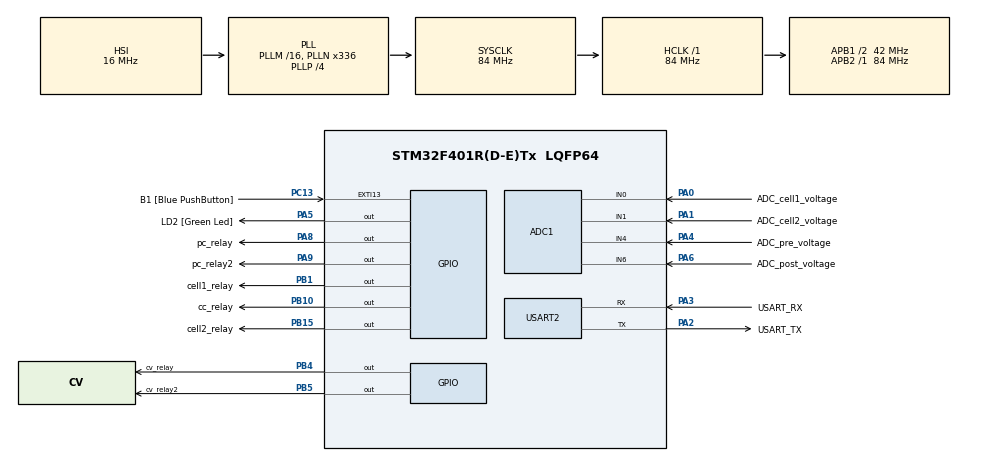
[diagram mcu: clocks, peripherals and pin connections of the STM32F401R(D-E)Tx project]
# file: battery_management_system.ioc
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ADC1.Channel-0\#ChannelRegularConversion=ADC_CHANNEL_0
ADC1.Channel-1\#ChannelRegularConversion=ADC_CHANNEL_1
ADC1.Channel-2\#ChannelRegularConversion=ADC_CHANNEL_4
ADC1.Channel-3\#ChannelRegularConversion=ADC_CHANNEL_6
ADC1.ContinuousConvMode=DISABLE
ADC1.DMAContinuousRequests=ENABLE
ADC1.EOCSelection=ADC_EOC_SEQ_CONV
ADC1.ExternalTrigConv=ADC_EXTERNALTRIGCONV_T3_TRGO
ADC1.NbrOfConversion=4
ADC1.NbrOfConversionFlag=1
ADC1.Rank-0\#ChannelRegularConversion=1
ADC1.Rank-1\#ChannelRegularConversion=2
ADC1.Rank-2\#ChannelRegularConversion=3
ADC1.Rank-3\#ChannelRegularConversion=4
ADC1.SamplingTime-0\#ChannelRegularConversion=ADC_SAMPLETIME_56CYCLES
ADC1.SamplingTime-1\#ChannelRegularConversion=ADC_SAMPLETIME_56CYCLES
ADC1.SamplingTime-2\#ChannelRegularConversion=ADC_SAMPLETIME_56CYCLES
ADC1.SamplingTime-3\#ChannelRegularConversion=ADC_SAMPLETIME_56CYCLES
ADC1.ScanConvMode=ENABLE
ADC1.master=1
Dma.ADC1.0.Direction=DMA_PERIPH_TO_MEMORY
Dma.ADC1.0.FIFOMode=DMA_FIFOMODE_DISABLE
Dma.ADC1.0.Instance=DMA2_Stream0
Dma.ADC1.0.MemDataAlignment=DMA_MDATAALIGN_WORD
Dma.ADC1.0.MemInc=DMA_MINC_ENABLE
Dma.ADC1.0.Mode=DMA_CIRCULAR
Dma.ADC1.0.PeriphDataAlignment=DMA_PDATAALIGN_WORD
Dma.ADC1.0.PeriphInc=DMA_PINC_DISABLE
Dma.ADC1.0.Priority=DMA_PRIORITY_LOW
Dma.Request0=ADC1
Mcu.Family=STM32F4
Mcu.Name=STM32F401R(D-E)Tx
Mcu.Package=LQFP64
NVIC.ADC_IRQn=true\:0\:0\:false\:false\:true\:true\:true\:true
NVIC.DMA2_Stream0_IRQn=true\:0\:0\:false\:false\:true\:false\:true\:true
NVIC.PriorityGroup=NVIC_PRIORITYGROUP_0
NVIC.TIM1_BRK_TIM9_IRQn=true\:0\:0\:false\:false\:true\:true\:true\:true
PA0-WKUP.GPIO_Label=ADC_cell1_voltage
PA0-WKUP.Signal=ADCx_IN0
PA1.GPIO_Label=ADC_cell2_voltage
PA1.Signal=ADCx_IN1
PA13.GPIO_Label=TMS
PA13.Mode=Serial_Wire
PA13.Signal=SYS_JTMS-SWDIO
PA14.GPIO_Label=TCK
PA14.Mode=Serial_Wire
PA14.Signal=SYS_JTCK-SWCLK
PA2.GPIO_Label=USART_TX
PA2.GPIO_Mode=GPIO_MODE_AF_PP
PA2.GPIO_PuPd=GPIO_NOPULL
PA2.GPIO_Speed=GPIO_SPEED_FREQ_LOW
PA2.Mode=Asynchronous
PA2.Signal=USART2_TX
PA3.GPIO_Label=USART_RX
PA3.GPIO_Mode=GPIO_MODE_AF_PP
PA3.GPIO_PuPd=GPIO_NOPULL
PA3.GPIO_Speed=GPIO_SPEED_FREQ_LOW
PA3.Mode=Asynchronous
PA3.Signal=USART2_RX
PA4.GPIO_Label=ADC_pre_voltage
PA4.Signal=ADCx_IN4
PA5.GPIO_Label=LD2 [Green Led]
PA5.GPIO_Mode=GPIO_MODE_OUTPUT_PP
PA5.GPIO_PuPd=GPIO_NOPULL
PA5.GPIO_Speed=GPIO_SPEED_FREQ_LOW
PA5.Signal=GPIO_Output
PA6.GPIO_Label=ADC_post_voltage
PA6.Signal=ADCx_IN6
PA8.GPIO_Label=pc_relay
PA8.PinState=GPIO_PIN_SET
PA8.Signal=GPIO_Output
PA9.GPIO_Label=pc_relay2
PA9.PinState=GPIO_PIN_SET
PA9.Signal=GPIO_Output
PB1.GPIO_Label=cell1_relay
PB1.PinState=GPIO_PIN_SET
PB1.Signal=GPIO_Output
PB10.GPIO_Label=cc_relay
PB10.PinState=GPIO_PIN_SET
PB10.Signal=GPIO_Output
PB15.GPIO_Label=cell2_relay
PB15.PinState=GPIO_PIN_SET
PB15.Signal=GPIO_Output
PB3.GPIO_Label=SWO
PB3.Signal=SYS_JTDO-SWO
PB4.GPIO_Label=cv_relay
PB4.PinState=GPIO_PIN_SET
PB4.Signal=GPIO_Output
PB5.GPIO_Label=cv_relay2
PB5.PinState=GPIO_PIN_SET
PB5.Signal=GPIO_Output
PC13-ANTI_TAMP.GPIO_Label=B1 [Blue PushButton]
PC13-ANTI_TAMP.GPIO_ModeDefaultEXTI=GPIO_MODE_IT_FALLING
PC13-ANTI_TAMP.GPIO_PuPd=GPIO_NOPULL
PC13-ANTI_TAMP.Signal=GPXTI13
PC14-OSC32_IN.Mode=LSE-External-Oscillator
PC14-OSC32_IN.Signal=RCC_OSC32_IN
PC15-OSC32_OUT.Mode=LSE-External-Oscillator
PC15-OSC32_OUT.Signal=RCC_OSC32_OUT
PH0\ -\ OSC_IN.Mode=HSE-External-Clock-Source
PH0\ -\ OSC_IN.Signal=RCC_OSC_IN
PH1\ -\ OSC_OUT.Mode=HSE-External-Clock-Source
PH1\ -\ OSC_OUT.Signal=RCC_OSC_OUT
ProjectManager.HeapSize=0x200
ProjectManager.StackSize=0x400
ProjectManager.TargetToolchain=STM32CubeIDE
RCC.48MHZClocksFreq_Value=48000000
RCC.AHBFreq_Value=84000000
RCC.APB1CLKDivider=RCC_HCLK_DIV2
RCC.APB1Freq_Value=42000000
RCC.APB1TimFreq_Value=84000000
RCC.APB2Freq_Value=84000000
RCC.APB2TimFreq_Value=84000000
RCC.CortexFreq_Value=84000000
RCC.HCLKFreq_Value=84000000
RCC.HSE_VALUE=8000000
RCC.HSI_VALUE=16000000
RCC.PLLN=336
RCC.PLLP=RCC_PLLP_DIV4
RCC.PLLQ=7
RCC.SYSCLKFreq_VALUE=84000000
RCC.SYSCLKSource=RCC_SYSCLKSOURCE_PLLCLK
RCC.VCOOutputFreq_Value=336000000
SH.ADCx_IN0.0=ADC1_IN0,IN0
SH.ADCx_IN1.0=ADC1_IN1,IN1
SH.ADCx_IN4.0=ADC1_IN4,IN4
SH.ADCx_IN6.0=ADC1_IN6,IN6
TIM3.Period=10000 -1
TIM3.Prescaler=840 -1
TIM3.TIM_MasterOutputTrigger=TIM_TRGO_UPDATE
TIM9.Period=10000
TIM9.Prescaler=840
USART2.VirtualMode=VM_ASYNC
VP_TIM3_VS_ClockSourceINT.Mode=Internal
VP_TIM9_VS_ClockSourceINT.Mode=Internal
board=NUCLEO-F401RE

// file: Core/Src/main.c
/* USER CODE BEGIN Header */
/**
  ******************************************************************************
  * @file           : main.c
  * @brief          : Main program body
  ******************************************************************************
  * @attention
  *
  * Copyright (c) 2023 STMicroelectronics.
  * All rights reserved.
  *
  * This software is licensed under terms that can be found in the LICENSE file
  * in the root directory of this software component.
  * If no LICENSE file comes with this software, it is provided AS-IS.
  *
  ******************************************************************************
  */
/* USER CODE END Header */
#include "main.h"

/* USER CODE BEGIN Includes */
#include "bms_cell_voltage_reader.h"
#include "bms_current_reader.h"
#include "bms_charging.h"

/* USER CODE END Includes */

ADC_HandleTypeDef hadc1;
DMA_HandleTypeDef hdma_adc1;

TIM_HandleTypeDef htim3;
TIM_HandleTypeDef htim9;

UART_HandleTypeDef huart2;

/* USER CODE BEGIN PV */
// A global variable to hold the voltage level of a cell.
uint16_t cell_voltage = 0;

// Global array with three ADC channels
uint32_t adc_value[4];

uint16_t charge_loop_counter = 0;
uint8_t charge_loop_delay = 20; //2 sec

struct battery_cell cells[1]; //only charge one cell

//Used for testing current reading implementation
float mAmp = 0;
uint16_t adc_drop = 0;
/* USER CODE END PV */

void SystemClock_Config(void);
static void MX_GPIO_Init(void);
static void MX_DMA_Init(void);
static void MX_USART2_UART_Init(void);
static void MX_ADC1_Init(void);
static void MX_TIM3_Init(void);
static void MX_TIM9_Init(void);

/* USER CODE BEGIN 0 */

void HAL_TIM_PeriodElapsedCallback(TIM_HandleTypeDef *htim){
	charge_loop_counter++;
}

/* USER CODE END 0 */

int main(void)
{

  /* MCU Configuration--------------------------------------------------------*/

  /* Reset of all peripherals, Initializes the Flash interface and the Systick. */
  HAL_Init();

  /* Configure the system clock */
  SystemClock_Config();

  /* Initialize all configured peripherals */
  MX_GPIO_Init();
  MX_DMA_Init();
  MX_USART2_UART_Init();
  MX_ADC1_Init();
  MX_TIM3_Init();
  MX_TIM9_Init();
  /* USER CODE BEGIN 2 */
  // Start timer for ADC Interrupt (10Hz)
  HAL_TIM_Base_Start(&htim3);
  HAL_TIM_Base_Start_IT(&htim9); //Timer for interrupt

  // Start ADC with DMA
  HAL_ADC_Start_DMA(&hadc1, adc_value, 4);

  battery_cell_init(cells);
  /* USER CODE END 2 */

  /* Infinite loop */
  /* USER CODE BEGIN WHILE */
  while (1)
  {
	  if(charge_loop_counter >= charge_loop_delay){
		  charge_loop(cells, adc_value);
		  charge_loop_counter = 0;
	  }
    /* USER CODE END WHILE */

  }
}

void SystemClock_Config(void)
{
  RCC_OscInitTypeDef RCC_OscInitStruct = {0};
  RCC_ClkInitTypeDef RCC_ClkInitStruct = {0};

  /** Configure the main internal regulator output voltage
  */
  __HAL_RCC_PWR_CLK_ENABLE();
  __HAL_PWR_VOLTAGESCALING_CONFIG(PWR_REGULATOR_VOLTAGE_SCALE2);

  /** Initializes the RCC Oscillators according to the specified parameters
  * in the RCC_OscInitTypeDef structure.
  */
  RCC_OscInitStruct.OscillatorType = RCC_OSCILLATORTYPE_HSI;
  RCC_OscInitStruct.HSIState = RCC_HSI_ON;
  RCC_OscInitStruct.HSICalibrationValue = RCC_HSICALIBRATION_DEFAULT;
  RCC_OscInitStruct.PLL.PLLState = RCC_PLL_ON;
  RCC_OscInitStruct.PLL.PLLSource = RCC_PLLSOURCE_HSI;
  RCC_OscInitStruct.PLL.PLLM = 16;
  RCC_OscInitStruct.PLL.PLLN = 336;
  RCC_OscInitStruct.PLL.PLLP = RCC_PLLP_DIV4;
  RCC_OscInitStruct.PLL.PLLQ = 7;
  if (HAL_RCC_OscConfig(&RCC_OscInitStruct) != HAL_OK)
  {
    Error_Handler();
  }

  /** Initializes the CPU, AHB and APB buses clocks
  */
  RCC_ClkInitStruct.ClockType = RCC_CLOCKTYPE_HCLK|RCC_CLOCKTYPE_SYSCLK
                              |RCC_CLOCKTYPE_PCLK1|RCC_CLOCKTYPE_PCLK2;
  RCC_ClkInitStruct.SYSCLKSource = RCC_SYSCLKSOURCE_PLLCLK;
  RCC_ClkInitStruct.AHBCLKDivider = RCC_SYSCLK_DIV1;
  RCC_ClkInitStruct.APB1CLKDivider = RCC_HCLK_DIV2;
  RCC_ClkInitStruct.APB2CLKDivider = RCC_HCLK_DIV1;

  if (HAL_RCC_ClockConfig(&RCC_ClkInitStruct, FLASH_LATENCY_2) != HAL_OK)
  {
    Error_Handler();
  }
}

static void MX_ADC1_Init(void)
{

  ADC_ChannelConfTypeDef sConfig = {0};

  /** Configure the global features of the ADC (Clock, Resolution, Data Alignment and number of conversion)
  */
  hadc1.Instance = ADC1;
  hadc1.Init.ClockPrescaler = ADC_CLOCK_SYNC_PCLK_DIV4;
  hadc1.Init.Resolution = ADC_RESOLUTION_12B;
  hadc1.Init.ScanConvMode = ENABLE;
  hadc1.Init.ContinuousConvMode = DISABLE;
  hadc1.Init.DiscontinuousConvMode = DISABLE;
  hadc1.Init.ExternalTrigConvEdge = ADC_EXTERNALTRIGCONVEDGE_RISING;
  hadc1.Init.ExternalTrigConv = ADC_EXTERNALTRIGCONV_T3_TRGO;
  hadc1.Init.DataAlign = ADC_DATAALIGN_RIGHT;
  hadc1.Init.NbrOfConversion = 4;
  hadc1.Init.DMAContinuousRequests = ENABLE;
  hadc1.Init.EOCSelection = ADC_EOC_SEQ_CONV;
  if (HAL_ADC_Init(&hadc1) != HAL_OK)
  {
    Error_Handler();
  }

  /** Configure for the selected ADC regular channel its corresponding rank in the sequencer and its sample time.
  */
  sConfig.Channel = ADC_CHANNEL_0;
  sConfig.Rank = 1;
  sConfig.SamplingTime = ADC_SAMPLETIME_56CYCLES;
  if (HAL_ADC_ConfigChannel(&hadc1, &sConfig) != HAL_OK)
  {
    Error_Handler();
  }

  /** Configure for the selected ADC regular channel its corresponding rank in the sequencer and its sample time.
  */
  sConfig.Channel = ADC_CHANNEL_1;
  sConfig.Rank = 2;
  if (HAL_ADC_ConfigChannel(&hadc1, &sConfig) != HAL_OK)
  {
    Error_Handler();
  }

  /** Configure for the selected ADC regular channel its corresponding rank in the sequencer and its sample time.
  */
  sConfig.Channel = ADC_CHANNEL_4;
  sConfig.Rank = 3;
  if (HAL_ADC_ConfigChannel(&hadc1, &sConfig) != HAL_OK)
  {
    Error_Handler();
  }

  /** Configure for the selected ADC regular channel its corresponding rank in the sequencer and its sample time.
  */
  sConfig.Channel = ADC_CHANNEL_6;
  sConfig.Rank = 4;
  if (HAL_ADC_ConfigChannel(&hadc1, &sConfig) != HAL_OK)
  {
    Error_Handler();
  }

}

static void MX_TIM3_Init(void)
{

  TIM_ClockConfigTypeDef sClockSourceConfig = {0};
  TIM_MasterConfigTypeDef sMasterConfig = {0};

  htim3.Instance = TIM3;
  htim3.Init.Prescaler = 840 -1;
  htim3.Init.CounterMode = TIM_COUNTERMODE_UP;
  htim3.Init.Period = 10000 -1;
  htim3.Init.ClockDivision = TIM_CLOCKDIVISION_DIV1;
  htim3.Init.AutoReloadPreload = TIM_AUTORELOAD_PRELOAD_DISABLE;
  if (HAL_TIM_Base_Init(&htim3) != HAL_OK)
  {
    Error_Handler();
  }
  sClockSourceConfig.ClockSource = TIM_CLOCKSOURCE_INTERNAL;
  if (HAL_TIM_ConfigClockSource(&htim3, &sClockSourceConfig) != HAL_OK)
  {
    Error_Handler();
  }
  sMasterConfig.MasterOutputTrigger = TIM_TRGO_UPDATE;
  sMasterConfig.MasterSlaveMode = TIM_MASTERSLAVEMODE_DISABLE;
  if (HAL_TIMEx_MasterConfigSynchronization(&htim3, &sMasterConfig) != HAL_OK)
  {
    Error_Handler();
  }

}

static void MX_TIM9_Init(void)
{

  TIM_ClockConfigTypeDef sClockSourceConfig = {0};

  htim9.Instance = TIM9;
  htim9.Init.Prescaler = 840;
  htim9.Init.CounterMode = TIM_COUNTERMODE_UP;
  htim9.Init.Period = 10000;
  htim9.Init.ClockDivision = TIM_CLOCKDIVISION_DIV1;
  htim9.Init.AutoReloadPreload = TIM_AUTORELOAD_PRELOAD_DISABLE;
  if (HAL_TIM_Base_Init(&htim9) != HAL_OK)
  {
    Error_Handler();
  }
  sClockSourceConfig.ClockSource = TIM_CLOCKSOURCE_INTERNAL;
  if (HAL_TIM_ConfigClockSource(&htim9, &sClockSourceConfig) != HAL_OK)
  {
    Error_Handler();
  }

}

static void MX_USART2_UART_Init(void)
{

  huart2.Instance = USART2;
  huart2.Init.BaudRate = 115200;
  huart2.Init.WordLength = UART_WORDLENGTH_8B;
  huart2.Init.StopBits = UART_STOPBITS_1;
  huart2.Init.Parity = UART_PARITY_NONE;
  huart2.Init.Mode = UART_MODE_TX_RX;
  huart2.Init.HwFlowCtl = UART_HWCONTROL_NONE;
  huart2.Init.OverSampling = UART_OVERSAMPLING_16;
  if (HAL_UART_Init(&huart2) != HAL_OK)
  {
    Error_Handler();
  }

}

static void MX_DMA_Init(void)
{

  /* DMA controller clock enable */
  __HAL_RCC_DMA2_CLK_ENABLE();

  /* DMA interrupt init */
  /* DMA2_Stream0_IRQn interrupt configuration */
  HAL_NVIC_SetPriority(DMA2_Stream0_IRQn, 0, 0);
  HAL_NVIC_EnableIRQ(DMA2_Stream0_IRQn);

}

static void MX_GPIO_Init(void)
{
  GPIO_InitTypeDef GPIO_InitStruct = {0};

  /* GPIO Ports Clock Enable */
  __HAL_RCC_GPIOC_CLK_ENABLE();
  __HAL_RCC_GPIOH_CLK_ENABLE();
  __HAL_RCC_GPIOA_CLK_ENABLE();
  __HAL_RCC_GPIOB_CLK_ENABLE();

  /*Configure GPIO pin Output Level */
  HAL_GPIO_WritePin(LD2_GPIO_Port, LD2_Pin, GPIO_PIN_RESET);

  /*Configure GPIO pin Output Level */
  HAL_GPIO_WritePin(GPIOB, cell1_relay_Pin|cc_relay_Pin|cell2_relay_Pin|cv_relay_Pin
                          |cv_relay2_Pin, GPIO_PIN_SET);

  /*Configure GPIO pin Output Level */
  HAL_GPIO_WritePin(GPIOA, pc_relay_Pin|pc_relay2_Pin, GPIO_PIN_SET);

  /*Configure GPIO pin : B1_Pin */
  GPIO_InitStruct.Pin = B1_Pin;
  GPIO_InitStruct.Mode = GPIO_MODE_IT_FALLING;
  GPIO_InitStruct.Pull = GPIO_NOPULL;
  HAL_GPIO_Init(B1_GPIO_Port, &GPIO_InitStruct);

  /*Configure GPIO pins : LD2_Pin pc_relay_Pin pc_relay2_Pin */
  GPIO_InitStruct.Pin = LD2_Pin|pc_relay_Pin|pc_relay2_Pin;
  GPIO_InitStruct.Mode = GPIO_MODE_OUTPUT_PP;
  GPIO_InitStruct.Pull = GPIO_NOPULL;
  GPIO_InitStruct.Speed = GPIO_SPEED_FREQ_LOW;
  HAL_GPIO_Init(GPIOA, &GPIO_InitStruct);

  /*Configure GPIO pins : cell1_relay_Pin cc_relay_Pin cell2_relay_Pin cv_relay_Pin
                           cv_relay2_Pin */
  GPIO_InitStruct.Pin = cell1_relay_Pin|cc_relay_Pin|cell2_relay_Pin|cv_relay_Pin
                          |cv_relay2_Pin;
  GPIO_InitStruct.Mode = GPIO_MODE_OUTPUT_PP;
  GPIO_InitStruct.Pull = GPIO_NOPULL;
  GPIO_InitStruct.Speed = GPIO_SPEED_FREQ_LOW;
  HAL_GPIO_Init(GPIOB, &GPIO_InitStruct);

}

void Error_Handler(void)
{
  __disable_irq();
  while (1)
  {
  }
}
